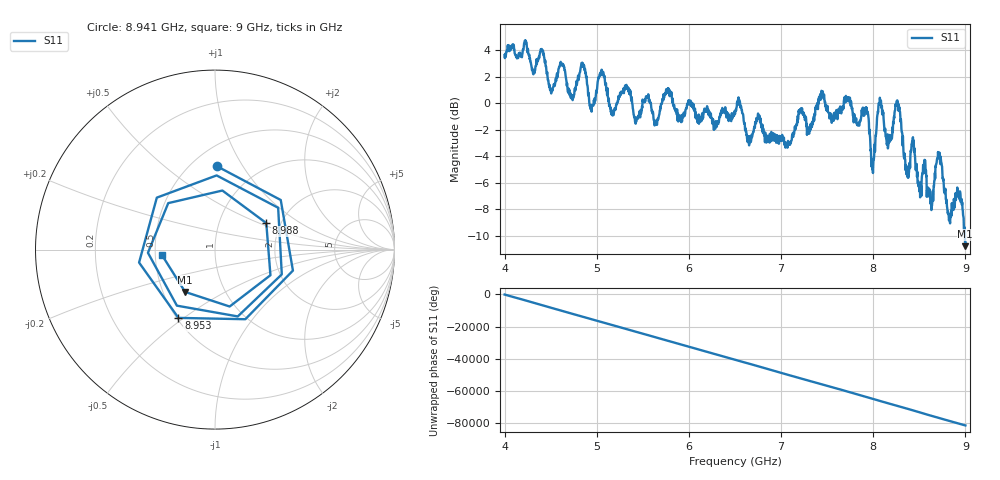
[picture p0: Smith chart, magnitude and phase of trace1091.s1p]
! Created with skrf 1.8.0 (http://scikit-rf.org).
# Hz S RI R 50.0
!freq ReS11 ImS11
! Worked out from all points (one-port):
!   1601 points, 4 GHz to 9 GHz, reference 50 ohm
!   lowest |S11| = -10.8 dB at 8.997 GHz (marker M1), VSWR 1.81, Z = 32.4 - j16.7 ohm
!   |S11| at or under -10 dB: 8.994827 GHz to end of sweep
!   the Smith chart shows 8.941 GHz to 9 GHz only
!   S11 on the Smith chart (normalised r, x): 8.941 GHz: 0.66, +0.78; 8.953 GHz: 0.51, -0.48; 8.988 GHz: 1.69, +0.56; 9 GHz: 0.54, -0.03
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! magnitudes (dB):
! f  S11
! 4 GHz  3.6
! 4.406 GHz  4.0
! 4.506 GHz  0.7
! 4.625 GHz  3.0
! 4.731 GHz  0.5
! 4.847 GHz  2.8
! 4.941 GHz  -0.5
! 5.05 GHz  2.2
! 5.25 GHz  0.5
! 5.875 GHz  -1.1
! 6.5 GHz  -0.8
! 7.125 GHz  -2.4
! 7.75 GHz  0.2
! 7.928 GHz  -0.4
! 7.994 GHz  -4.7
! 8.069 GHz  0.0
! 8.169 GHz  -2.9
! 8.266 GHz  0.0
! 8.375 GHz  -5.6
! 8.428 GHz  -2.7
! 8.628 GHz  -7.4
! 8.716 GHz  -3.9
! 8.825 GHz  -8.6
! 8.941 GHz  -6.7
! 8.953 GHz  -7.3
! 8.988 GHz  -9.9
! 8.997 GHz  -10.8
! 9 GHz  -10.5
